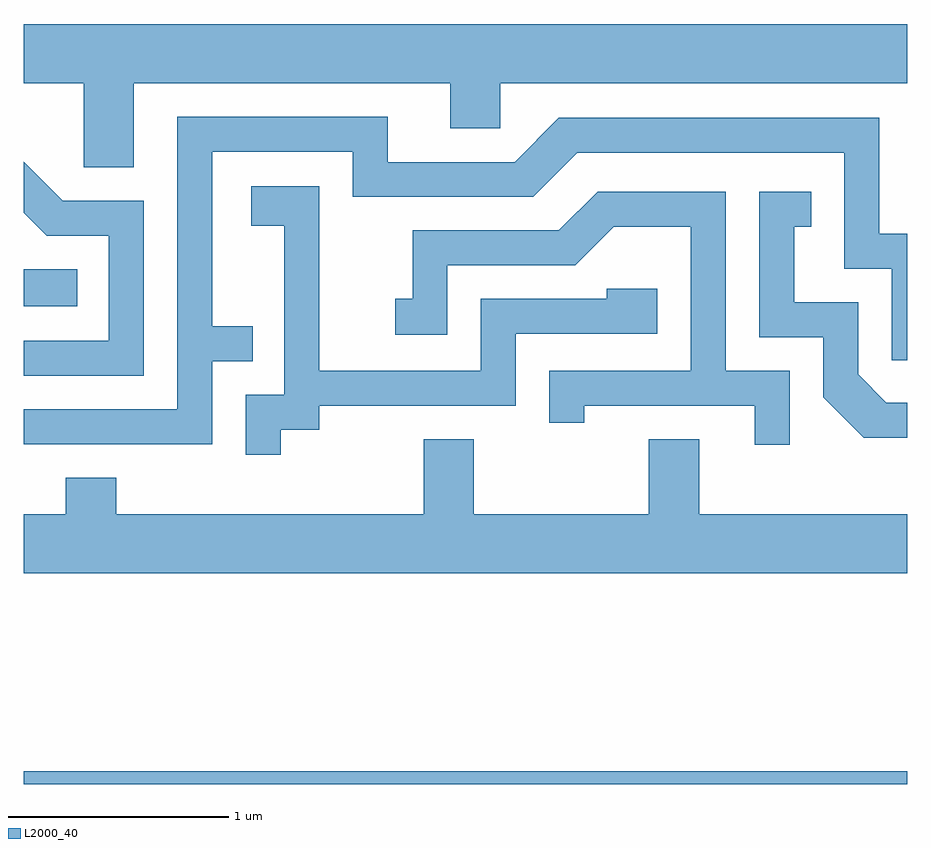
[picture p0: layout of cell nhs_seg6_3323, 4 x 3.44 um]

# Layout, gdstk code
import gdstk
lib = gdstk.Library(unit=1e-6, precision=1e-09)
def R(c, l, rs):  # rectangles x0, y0, x1, y1
    for r in rs: c.add(gdstk.rectangle(r[:2], r[2:], *l))
def P(c, l, *ps):  # polygons
    for p in ps: c.add(gdstk.Polygon(p, *l))
L2000_40 = (2000, 40)

nhs_seg6_3323 = lib.new_cell('nhs_seg6_3323')
R(nhs_seg6_3323, L2000_40, [(285.611,1580.162,289.611,1580.219), (285.611,1582.326,285.853,1582.494)])
P(nhs_seg6_3323, L2000_40, [(286.109,1583.336),(287.541,1583.336),(287.541,1583.131),(287.769,1583.131),(287.769,1583.336),(289.611,1583.336),(289.611,1583.604),(285.611,1583.604),(285.611,1583.336),(285.881,1583.336),(285.881,1582.956),(286.109,1582.956)],
  [(286.464,1582.076),(286.648,1582.076),(286.648,1582.234),(286.464,1582.234),(286.464,1583.026),(287.101,1583.026),(287.101,1582.821),(287.917,1582.821),(288.117,1583.021),(289.326,1583.021),(289.326,1582.496),(289.541,1582.496),(289.541,1582.081),(289.611,1582.081),(289.611,1582.654),(289.484,1582.654),(289.484,1583.179),(288.034,1583.179),(287.834,1582.979),(287.259,1582.979),(287.259,1583.184),(286.306,1583.184),(286.306,1581.859),(285.611,1581.859),(285.611,1581.701),(286.464,1581.701)],
  [(286.154,1582.804),(285.787,1582.804),(285.611,1582.98),(285.611,1582.749),(285.714,1582.646),(285.996,1582.646),(285.996,1582.169),(285.611,1582.169),(285.611,1582.011),(286.154,1582.011)],
  [(286.774,1581.766),(286.949,1581.766),(286.949,1581.876),(287.839,1581.876),(287.839,1582.201),(288.479,1582.201),(288.479,1582.404),(288.251,1582.404),(288.251,1582.359),(287.681,1582.359),(287.681,1582.034),(286.949,1582.034),(286.949,1582.869),(286.641,1582.869),(286.641,1582.691),(286.791,1582.691),(286.791,1581.924),(286.616,1581.924),(286.616,1581.653),(286.774,1581.653)],
  [(289.611,1581.889),(289.517,1581.889),(289.389,1582.017),(289.389,1582.344),(289.099,1582.344),(289.099,1582.686),(289.178,1582.686),(289.178,1582.844),(288.941,1582.844),(288.941,1582.186),(289.231,1582.186),(289.231,1581.914),(289.414,1581.731),(289.611,1581.731)],
  [(289.079,1582.034),(288.789,1582.034),(288.789,1582.844),(288.209,1582.844),(288.034,1582.669),(287.371,1582.669),(287.371,1582.359),(287.293,1582.359),(287.293,1582.196),(287.529,1582.196),(287.529,1582.511),(288.107,1582.511),(288.282,1582.686),(288.631,1582.686),(288.631,1582.034),(287.991,1582.034),(287.991,1581.798),(288.149,1581.798),(288.149,1581.876),(288.921,1581.876),(288.921,1581.698),(289.079,1581.698)],
  [(289.611,1581.384),(288.669,1581.384),(288.669,1581.724),(288.441,1581.724),(288.441,1581.384),(287.649,1581.384),(287.649,1581.724),(287.421,1581.724),(287.421,1581.384),(286.029,1581.384),(286.029,1581.549),(285.801,1581.549),(285.801,1581.384),(285.611,1581.384),(285.611,1581.116),(289.611,1581.116)])

lib.write_gds('nhs_seg6_3323.gds')
